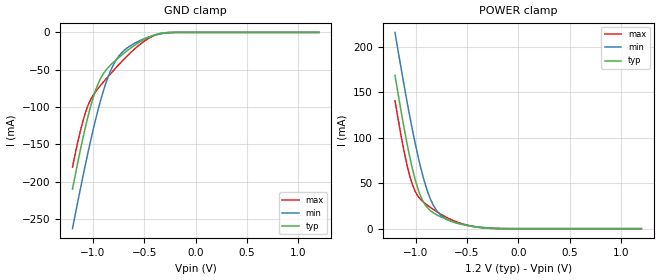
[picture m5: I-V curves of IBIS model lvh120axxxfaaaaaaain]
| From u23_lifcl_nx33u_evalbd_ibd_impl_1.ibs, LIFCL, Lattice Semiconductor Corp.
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[Model] lvh120axxxfaaaaaaain
Model_type Input
Polarity   Non-Inverting
Enable   Active-High
Vinl =  0.420V
Vinh =  0.780V
C_comp   5.000pF   4.000pF   5.500pF
[Temperature Range]   25.000   0.125k   -40.000
[Voltage Range]   1.200V   1.140V   1.260V
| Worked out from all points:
|   GND clamp passes 1 mA (typ) near -0.32 V on its own axis
|   POWER clamp passes 1 mA (typ) near -0.35 V on its own axis
[GND_clamp]
|Voltage   I(typ)   I(min)   I(max)
-1.2V     -209.9mA   -262.8mA   -180.5mA
-1.125V   -158.5mA   -210.9mA   -133mA
-1.075V   -127.3mA   -177.7mA   -108mA
-1.025V   -99.9mA    -146.2mA   -90.46mA
-950mV    -68.74mA   -103.2mA   -74.94mA
-875mV    -50.65mA   -68.1mA    -62.66mA
-825mV    -43.12mA   -50.21mA   -54.78mA
-750mV    -33.76mA   -31.9mA    -43.36mA
-675mV    -25.29mA   -21.51mA   -32.59mA
-475mV    -7.493mA   -7.059mA   -9.35mA
-300mV    -592.7uA   -1.071mA   -520.5uA
1.2V      0A         0A         0A
[POWER_clamp]
|Voltage   I(typ)   I(min)   I(max)
-1.2V     168.6mA    215.8mA    140.6mA
-1.125V   119.2mA    166.4mA    92.84mA
-1.075V   89.27mA    135mA      66.22mA
-1.025V   63.41mA    105.7mA    46.84mA
-975mV    43.18mA    79.24mA    35.57mA
-925mV    29.63mA    56.5mA     29.42mA
-875mV    21.83mA    38.4mA     24.98mA
-825mV    17.29mA    25.43mA    21.03mA
-750mV    12.75mA    14.37mA    15.67mA
-600mV    6.313mA    6.272mA    7.453mA
-300mV    596.6uA    938.1uA    529.7uA
1.2V      0A         0A         0A
